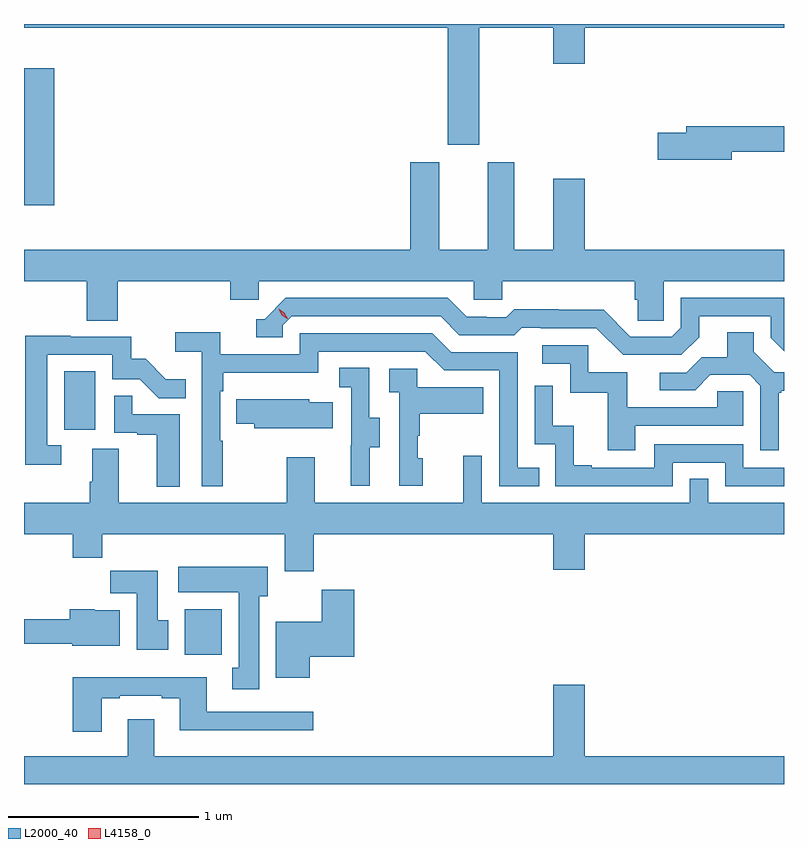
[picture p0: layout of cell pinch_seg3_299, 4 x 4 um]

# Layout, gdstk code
import gdstk
lib = gdstk.Library(unit=1e-6, precision=1e-09)
def R(c, l, rs):  # rectangles x0, y0, x1, y1
    for r in rs: c.add(gdstk.rectangle(r[:2], r[2:], *l))
def P(c, l, *ps):  # polygons
    for p in ps: c.add(gdstk.Polygon(p, *l))
L2000_40 = (2000, 40)
L4158_0 = (4158, 0)

pinch_seg3_299 = lib.new_cell('pinch_seg3_299')
R(pinch_seg3_299, L2000_40, [(954.275,706.94,954.472,707.182), (953.642,708.126,953.806,708.433), (953.43,709.308,953.59,710.029)])
P(pinch_seg3_299, L2000_40, [(955.825,710.24),(956.216,710.24),(956.216,710.052),(956.38,710.052),(956.38,710.24),(957.43,710.24),(957.43,710.261),(953.43,710.261),(953.43,710.24),(955.661,710.24),(955.661,709.626),(955.825,709.626)],
  [(957.154,709.588),(957.43,709.588),(957.43,709.724),(956.915,709.724),(956.915,709.688),(956.766,709.688),(956.766,709.546),(957.154,709.546)],
  [(953.924,708.908),(954.515,708.908),(954.515,708.81),(954.666,708.81),(954.666,708.908),(955.797,708.908),(955.797,708.81),(955.947,708.81),(955.947,708.908),(956.645,708.908),(956.645,708.81),(956.659,708.81),(956.659,708.7),(956.796,708.7),(956.796,708.908),(957.43,708.908),(957.43,709.072),(956.38,709.072),(956.38,709.447),(956.216,709.447),(956.216,709.072),(956.011,709.072),(956.011,709.534),(955.871,709.534),(955.871,709.072),(955.615,709.072),(955.615,709.534),(955.463,709.534),(955.463,709.072),(953.43,709.072),(953.43,708.908),(953.759,708.908),(953.759,708.7),(953.924,708.7)],
  [(956.983,708.613),(956.983,708.723),(957.36,708.723),(957.36,708.609),(957.43,708.539),(957.43,708.819),(956.886,708.819),(956.886,708.663),(956.838,708.615),(956.622,708.615),(956.48,708.757),(956.244,708.757),(956.244,708.76),(956.011,708.76),(955.969,708.717),(955.866,708.717),(955.866,708.72),(955.759,708.72),(955.66,708.819),(954.807,708.819),(954.696,708.708),(954.653,708.708),(954.653,708.612),(954.792,708.612),(954.792,708.675),(954.84,708.723),(955.623,708.723),(955.722,708.624),(956.011,708.624),(956.05,708.663),(956.149,708.663),(956.149,708.66),(956.442,708.66),(956.583,708.519),(956.889,708.519)],
  [(954.475,708.068),(954.462,708.068),(954.462,708.329),(954.479,708.329),(954.479,708.425),(954.978,708.425),(954.978,708.537),(955.542,708.537),(955.641,708.438),(955.932,708.438),(955.932,707.829),(956.141,707.829),(956.141,707.925),(956.028,707.925),(956.028,708.534),(955.678,708.534),(955.579,708.633),(954.882,708.633),(954.882,708.522),(954.464,708.522),(954.464,708.638),(954.225,708.638),(954.225,708.536),(954.366,708.536),(954.366,707.829),(954.475,707.829)],
  [(957.403,708.321),(957.415,708.321),(957.415,708.332),(957.43,708.332),(957.43,708.429),(957.378,708.429),(957.271,708.536),(957.271,708.638),(957.131,708.638),(957.131,708.506),(956.996,708.506),(956.916,708.426),(956.775,708.426),(956.775,708.333),(956.962,708.333),(957.043,708.414),(957.249,708.414),(957.306,708.357),(957.306,708.018),(957.403,708.018)],
  [(953.626,708.045),(953.553,708.045),(953.553,708.519),(953.895,708.519),(953.895,708.39),(954.04,708.39),(954.138,708.292),(954.281,708.292),(954.281,708.391),(954.177,708.391),(954.07,708.498),(953.994,708.498),(953.994,708.615),(953.675,708.615),(953.675,708.62),(953.437,708.62),(953.437,707.94),(953.626,707.94)],
  [(956.647,708.147),(957.216,708.147),(957.216,708.327),(957.079,708.327),(957.079,708.243),(956.605,708.243),(956.605,708.429),(956.4,708.429),(956.4,708.57),(956.157,708.57),(956.157,708.474),(956.304,708.474),(956.304,708.321),(956.503,708.321),(956.503,708.018),(956.647,708.018)],
  [(955.249,708.034),(955.303,708.034),(955.303,708.189),(955.248,708.189),(955.248,708.452),(955.089,708.452),(955.089,708.349),(955.152,708.349),(955.152,708.045),(955.151,708.045),(955.151,707.832),(955.249,707.832)],
  [(955.528,707.976),(955.503,707.976),(955.503,708.095),(955.513,708.095),(955.513,708.209),(955.847,708.209),(955.847,708.349),(955.5,708.349),(955.5,708.447),(955.353,708.447),(955.353,708.323),(955.404,708.323),(955.404,707.832),(955.528,707.832)],
  [(956.844,707.952),(957.12,707.952),(957.12,707.829),(957.43,707.829),(957.43,707.925),(957.216,707.925),(957.216,708.048),(956.748,708.048),(956.748,707.925),(956.419,707.925),(956.419,707.938),(956.324,707.938),(956.324,708.146),(956.214,708.146),(956.214,708.358),(956.118,708.358),(956.118,708.048),(956.226,708.048),(956.226,707.829),(956.844,707.829)],
  [(954.25,708.207),(953.999,708.207),(953.999,708.305),(953.904,708.305),(953.904,708.111),(954.025,708.111),(954.025,708.099),(954.128,708.099),(954.128,707.825),(954.25,707.825)],
  [(955.055,708.271),(954.93,708.271),(954.93,708.286),(954.658,708.286),(954.658,708.285),(954.547,708.285),(954.547,708.157),(954.641,708.157),(954.641,708.134),(955.055,708.134)],
  [(954.956,707.576),(956.216,707.576),(956.216,707.388),(956.38,707.388),(956.38,707.576),(957.43,707.576),(957.43,707.74),(957.03,707.74),(957.03,707.867),(956.934,707.867),(956.934,707.74),(955.839,707.74),(955.839,707.989),(955.742,707.989),(955.742,707.74),(954.961,707.74),(954.961,707.98),(954.814,707.98),(954.814,707.74),(953.929,707.74),(953.929,708.026),(953.789,708.026),(953.789,707.852),(953.777,707.852),(953.777,707.74),(953.43,707.74),(953.43,707.576),(953.687,707.576),(953.687,707.452),(953.843,707.452),(953.843,707.576),(954.803,707.576),(954.803,707.382),(954.956,707.382)],
  [(954.667,707.25),(954.712,707.25),(954.712,707.404),(954.243,707.404),(954.243,707.27),(954.56,707.27),(954.56,706.874),(954.527,706.874),(954.527,706.761),(954.667,706.761)],
  [(954.19,707.124),(954.133,707.124),(954.133,707.383),(953.884,707.383),(953.884,707.264),(954.023,707.264),(954.023,706.968),(954.19,706.968)],
  [(954.934,706.931),(955.169,706.931),(955.169,707.284),(954.998,707.284),(954.998,707.116),(954.755,707.116),(954.755,706.82),(954.934,706.82)],
  [(953.935,707.176),(953.802,707.176),(953.802,707.182),(953.672,707.182),(953.672,707.128),(953.43,707.128),(953.43,706.999),(953.684,706.999),(953.684,706.988),(953.935,706.988)],
  [(953.839,706.713),(953.935,706.713),(953.935,706.725),(954.155,706.725),(954.155,706.713),(954.251,706.713),(954.251,706.544),(954.952,706.544),(954.952,706.641),(954.391,706.641),(954.391,706.822),(953.687,706.822),(953.687,706.536),(953.839,706.536)],
  [(957.43,706.408),(956.38,706.408),(956.38,706.783),(956.216,706.783),(956.216,706.408),(954.115,706.408),(954.115,706.603),(953.975,706.603),(953.975,706.408),(953.43,706.408),(953.43,706.261),(957.43,706.261)])
P(pinch_seg3_299, L4158_0, [(954.816,708.71),(954.786,708.729),(954.77,708.762),(954.77,708.762),(954.77,708.762),(954.801,708.742),(954.817,708.71),(954.817,708.71)])

lib.write_gds('pinch_seg3_299.gds')
